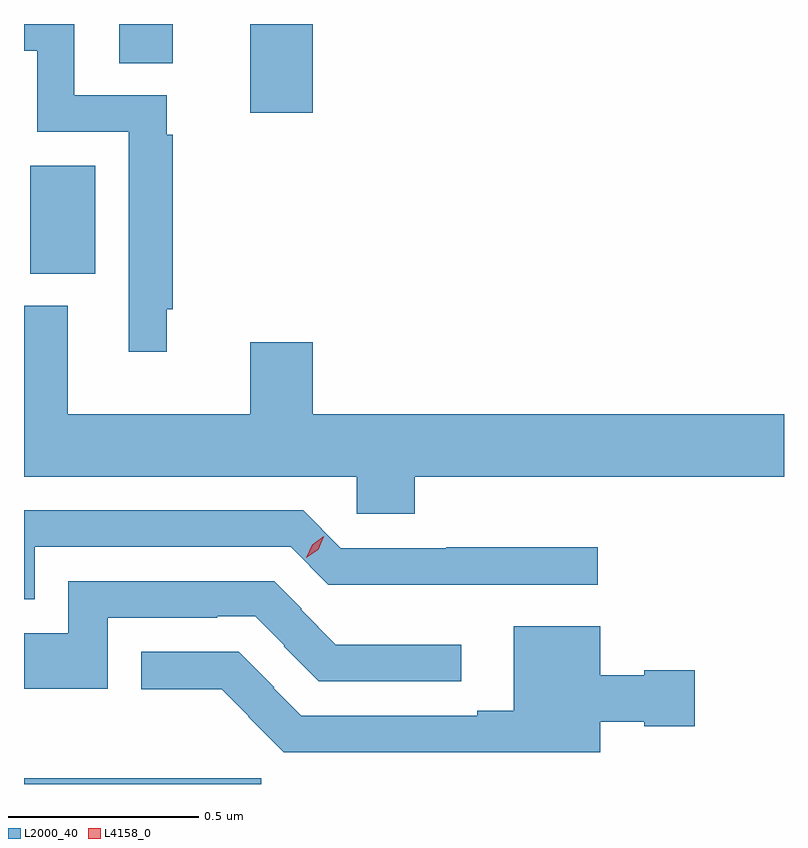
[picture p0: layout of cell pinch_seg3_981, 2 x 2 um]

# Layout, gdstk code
import gdstk
lib = gdstk.Library(unit=1e-6, precision=1e-09)
def R(c, l, rs):  # rectangles x0, y0, x1, y1
    for r in rs: c.add(gdstk.rectangle(r[:2], r[2:], *l))
def P(c, l, *ps):  # polygons
    for p in ps: c.add(gdstk.Polygon(p, *l))
L2000_40 = (2000, 40)
L4158_0 = (4158, 0)

pinch_seg3_981 = lib.new_cell('pinch_seg3_981')
R(pinch_seg3_981, L2000_40, [(440.136,717.423,440.76,717.438), (440.153,718.766,440.323,719.05), (440.732,719.19,440.896,719.423), (440.387,719.32,440.527,719.423)])
P(pinch_seg3_981, L2000_40, [(440.511,718.672),(440.528,718.672),(440.528,719.132),(440.511,719.132),(440.511,719.235),(440.268,719.235),(440.268,719.423),(440.136,719.423),(440.136,719.352),(440.171,719.352),(440.171,719.139),(440.412,719.139),(440.412,718.56),(440.511,718.56)],
  [(441.164,718.232),(442.136,718.232),(442.136,718.396),(440.896,718.396),(440.896,718.585),(440.732,718.585),(440.732,718.396),(440.251,718.396),(440.251,718.681),(440.136,718.681),(440.136,718.232),(441.012,718.232),(441.012,718.134),(441.164,718.134)],
  [(440.164,718.047),(440.838,718.047),(440.937,717.948),(441.034,717.948),(441.034,717.947),(441.273,717.947),(441.273,717.948),(441.646,717.948),(441.646,718.046),(441.247,718.046),(441.247,718.044),(440.97,718.044),(440.871,718.143),(440.136,718.143),(440.136,717.909),(440.164,717.909)],
  [(440.356,717.861),(440.645,717.861),(440.645,717.864),(440.745,717.864),(440.821,717.788),(440.819,717.786),(440.912,717.693),(441.286,717.693),(441.286,717.79),(440.957,717.79),(440.865,717.882),(440.867,717.884),(440.794,717.957),(440.252,717.957),(440.252,717.82),(440.136,717.82),(440.136,717.674),(440.356,717.674)],
  [(441.652,717.587),(441.768,717.587),(441.768,717.575),(441.901,717.575),(441.901,717.722),(441.768,717.722),(441.768,717.709),(441.652,717.709),(441.652,717.838),(441.425,717.838),(441.425,717.616),(441.329,717.616),(441.329,717.603),(440.865,717.603),(440.792,717.676),(440.794,717.678),(440.701,717.771),(440.445,717.771),(440.445,717.673),(440.656,717.673),(440.728,717.601),(440.726,717.6),(440.819,717.507),(441.652,717.507)])
P(pinch_seg3_981, L4158_0, [(440.879,718.019),(440.879,718.019),(440.894,718.053),(440.925,718.075),(440.925,718.075),(440.925,718.074),(440.91,718.04),(440.879,718.019)])

lib.write_gds('pinch_seg3_981.gds')
